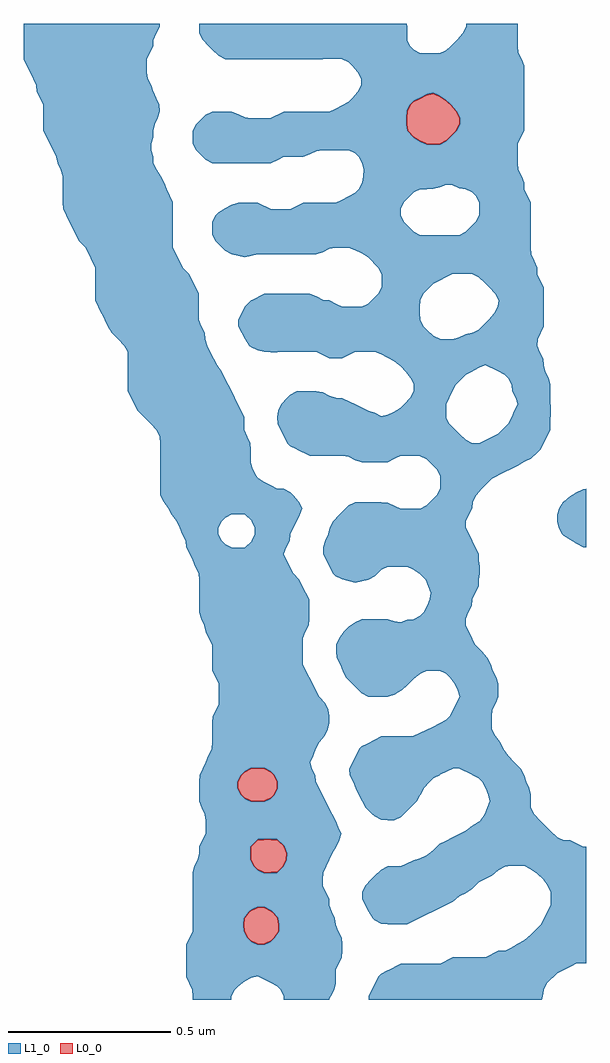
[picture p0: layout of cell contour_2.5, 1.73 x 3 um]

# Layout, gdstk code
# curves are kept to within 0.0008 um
import gdstk
lib = gdstk.Library(unit=1e-6, precision=1e-10)
def P(c, l, *ps):  # polygons
    for p in ps: c.add(gdstk.Polygon(p, *l))
L0_0 = (0, 0)
L1_0 = (1, 0)

contour_2_5 = lib.new_cell('contour_2.5')
P(contour_2_5, L0_0, [(0.4754,1.0746),(0.4654,1.0946),(0.4346,1.1276),(0.4146,1.1404),(0.3946,1.1499),(0.3746,1.1452),(0.3346,1.1254),(0.3238,1.1146),(0.3138,1.0946),(0.3134,1.0546),(0.3165,1.0346),(0.3346,1.0155),(0.3546,1.0028),(0.3746,0.9938),(0.4146,0.9938),(0.4346,1.0038),(0.4653,1.0346),(0.4753,1.0546)],
  [(-0.0567,-1.1854),(-0.0654,-1.1627),(-0.0854,-1.1445),(-0.1054,-1.1423),(-0.1254,-1.1424),(-0.1454,-1.1448),(-0.166,-1.1654),(-0.1664,-1.2054),(-0.1567,-1.2254),(-0.1454,-1.2367),(-0.1254,-1.2462),(-0.1054,-1.2462),(-0.0854,-1.2438),(-0.067,-1.2254),(-0.0573,-1.2054)],
  [(-0.081,-1.4054),(-0.0843,-1.3854),(-0.1001,-1.3654),(-0.1254,-1.3522),(-0.1454,-1.3518),(-0.1712,-1.3654),(-0.1854,-1.3835),(-0.1877,-1.4054),(-0.1875,-1.4254),(-0.1762,-1.4454),(-0.1654,-1.4562),(-0.1454,-1.4662),(-0.1254,-1.4662),(-0.1054,-1.4563),(-0.0945,-1.4454),(-0.0813,-1.4254)],
  [(-0.0846,-0.9854),(-0.0846,-0.9654),(-0.0946,-0.9454),(-0.1054,-0.9346),(-0.1254,-0.9242),(-0.1654,-0.9243),(-0.1854,-0.9346),(-0.1962,-0.9454),(-0.2062,-0.9654),(-0.2062,-0.9854),(-0.1962,-1.0054),(-0.1854,-1.0162),(-0.1654,-1.0262),(-0.1254,-1.0262),(-0.1054,-1.0162),(-0.0946,-1.0054)])
P(contour_2_5, L1_0, [(0.8646,-0.0662),(0.8546,-0.0664),(0.8346,-0.0764),(0.8146,-0.0891),(0.7946,-0.1051),(0.7815,-0.1254),(0.7754,-0.1454),(0.7754,-0.1654),(0.78,-0.1854),(0.7913,-0.2054),(0.7946,-0.2093),(0.8146,-0.223),(0.8546,-0.2446),(0.8646,-0.2446)],
  [(0.7754,-0.1454),(0.7754,-0.1654),(0.78,-0.1854),(0.7946,-0.2093),(0.8146,-0.223),(0.8346,-0.2346),(0.8546,-0.2446),(0.8646,-0.2446),(0.8646,-0.0662),(0.8546,-0.0664),(0.8346,-0.0764),(0.8146,-0.0891),(0.7946,-0.1051),(0.7815,-0.1254)],
  [(-0.3446,1.0146),(-0.3446,0.9946),(-0.3346,0.9746),(-0.3054,0.9455),(-0.2854,0.9355),(-0.1054,0.9354),(-0.0654,0.9547),(-0.0054,0.9554),(0.0146,0.962),(0.0346,0.972),(0.0546,0.9754),(0.1346,0.9754),(0.1546,0.9654),(0.1654,0.9546),(0.1755,0.9346),(0.1799,0.9146),(0.1798,0.8946),(0.1754,0.8746),(0.1654,0.8546),(0.1546,0.8438),(0.0946,0.8138),(-0.0054,0.8137),(-0.0454,0.794),(-0.1054,0.794),(-0.1454,0.8137),(-0.2054,0.8138),(-0.2254,0.8072),(-0.2454,0.7972),(-0.2654,0.7838),(-0.2746,0.7746),(-0.2846,0.7546),(-0.2846,0.7146),(-0.2746,0.6946),(-0.2454,0.6654),(-0.2254,0.6554),(-0.2054,0.6506),(-0.1854,0.6467),(-0.1454,0.6553),(0.0346,0.6554),(0.0546,0.6621),(0.0746,0.6721),(0.0946,0.6754),(0.1346,0.6754),(0.1546,0.668),(0.1746,0.658),(0.1946,0.6454),(0.2254,0.6146),(0.2354,0.5946),(0.2353,0.5546),(0.2253,0.5346),(0.1946,0.5038),(0.1746,0.4938),(0.1146,0.4938),(0.0746,0.5132),(0.0546,0.5157),(0.0346,0.5257),(0.0146,0.5338),(-0.1254,0.5338),(-0.1654,0.5136),(-0.1846,0.4946),(-0.2046,0.4546),(-0.2046,0.4346),(-0.1838,0.3946),(-0.1708,0.3746),(-0.1654,0.3701),(-0.1454,0.3595),(-0.1254,0.3554),(-0.0854,0.3543),(-0.0654,0.3553),(0.0346,0.3552),(0.0746,0.3359),(0.0946,0.3354),(0.1146,0.3359),(0.1546,0.3552),(0.2146,0.3554),(0.2346,0.3475),(0.2546,0.3375),(0.2746,0.3262),(0.2946,0.311),(0.3103,0.2946),(0.3249,0.2746),(0.3346,0.2553),(0.3342,0.2346),(0.3242,0.2146),(0.2946,0.1837),(0.2746,0.1715),(0.2546,0.1617),(0.2346,0.1576),(0.2146,0.1674),(0.1946,0.1738),(0.1146,0.2134),(0.0946,0.2138),(0.0746,0.221),(0.0546,0.231),(0.0346,0.2338),(-0.0254,0.2336),(-0.0454,0.2236),(-0.0545,0.2146),(-0.0727,0.1946),(-0.0827,0.1746),(-0.0846,0.1546),(-0.084,0.1346),(-0.0544,0.0746),(-0.0454,0.0655),(0.0146,0.0354),(0.1146,0.0354),(0.1346,0.0325),(0.1546,0.0225),(0.1746,0.0154),(0.2346,0.0154),(0.2546,0.0167),(0.2946,0.0354),(0.3546,0.0347),(0.3746,0.0247),(0.3946,0.0052),(0.4051,-0.0054),(0.4151,-0.0254),(0.4153,-0.0654),(0.4053,-0.0854),(0.3746,-0.1162),(0.3546,-0.1262),(0.2946,-0.1262),(0.2746,-0.1181),(0.2546,-0.1081),(0.2346,-0.1062),(0.1546,-0.1062),(0.1346,-0.1162),(0.0862,-0.1654),(0.0762,-0.1854),(0.0722,-0.2054),(0.0622,-0.2254),(0.0554,-0.2454),(0.0557,-0.2654),(0.086,-0.3254),(0.0946,-0.334),(0.1146,-0.3442),(0.1546,-0.3537),(0.1946,-0.3446),(0.2146,-0.3346),(0.2346,-0.3149),(0.2546,-0.3049),(0.3146,-0.3046),(0.3346,-0.3138),(0.3546,-0.3289),(0.3705,-0.3454),(0.3866,-0.3854),(0.3831,-0.4054),(0.3754,-0.4254),(0.3654,-0.4454),(0.3546,-0.4562),(0.3346,-0.4662),(0.3146,-0.4686),(0.2946,-0.4752),(0.2746,-0.4732),(0.2546,-0.4666),(0.1746,-0.4662),(0.1546,-0.4762),(0.1346,-0.4899),(0.1192,-0.5054),(0.1055,-0.5254),(0.0955,-0.5454),(0.0954,-0.5654),(0.0978,-0.5854),(0.126,-0.6454),(0.1746,-0.6946),(0.1946,-0.7046),(0.2546,-0.7047),(0.2746,-0.6979),(0.2946,-0.6871),(0.3146,-0.67),(0.3346,-0.6497),(0.3546,-0.6345),(0.3746,-0.6246),(0.4146,-0.6246),(0.4346,-0.6346),(0.4454,-0.6454),(0.46,-0.6654),(0.47,-0.6854),(0.4753,-0.7054),(0.4454,-0.7654),(0.4346,-0.7762),(0.3946,-0.7965),(0.3346,-0.8249),(0.3146,-0.8262),(0.2346,-0.8266),(0.1746,-0.8573),(0.1661,-0.8654),(0.1359,-0.9254),(0.1379,-0.9454),(0.1478,-0.9654),(0.1554,-0.9854),(0.1861,-1.0454),(0.2146,-1.0726),(0.2346,-1.0826),(0.2546,-1.0846),(0.2746,-1.0846),(0.2946,-1.0746),(0.3438,-1.0254),(0.3652,-0.9854),(0.3946,-0.9549),(0.4546,-0.9249),(0.4746,-0.9246),(0.5346,-0.9546),(0.5454,-0.9654),(0.5554,-0.9854),(0.5632,-1.0054),(0.5678,-1.0254),(0.5529,-1.0654),(0.5388,-1.0854),(0.5146,-1.101),(0.4946,-1.1162),(0.4146,-1.157),(0.3946,-1.1762),(0.3746,-1.1914),(0.3546,-1.2014),(0.3346,-1.2069),(0.2946,-1.2262),(0.2546,-1.2262),(0.2346,-1.2362),(0.2042,-1.2654),(0.1859,-1.2854),(0.1759,-1.3054),(0.1758,-1.3254),(0.1963,-1.3654),(0.2082,-1.3854),(0.2146,-1.3911),(0.2346,-1.4018),(0.2546,-1.4046),(0.3146,-1.4046),(0.4546,-1.3346),(0.4746,-1.3181),(0.4946,-1.3081),(0.5146,-1.2946),(0.5346,-1.2747),(0.5746,-1.2546),(0.5946,-1.2375),(0.6146,-1.2275),(0.6346,-1.2246),(0.6746,-1.2246),(0.6946,-1.2346),(0.7146,-1.2482),(0.7318,-1.2654),(0.7454,-1.2854),(0.7554,-1.3054),(0.7554,-1.3454),(0.7254,-1.4054),(0.6946,-1.4362),(0.6746,-1.4535),(0.6146,-1.4861),(0.5946,-1.4863),(0.5546,-1.5062),(0.4546,-1.5063),(0.4146,-1.5259),(0.2946,-1.5262),(0.2346,-1.5562),(0.2255,-1.5654),(0.1959,-1.6254),(0.1954,-1.6354),(0.7284,-1.6354),(0.7311,-1.6254),(0.7338,-1.6054),(0.7438,-1.5854),(0.7746,-1.5546),(0.8346,-1.5246),(0.8646,-1.5246),(0.8646,-1.1662),(0.8546,-1.1661),(0.8146,-1.1464),(0.7946,-1.1461),(0.7746,-1.1361),(0.704,-1.0654),(0.694,-1.0454),(0.6938,-1.0054),(0.6899,-0.9854),(0.6799,-0.9654),(0.6738,-0.9454),(0.6638,-0.9254),(0.6243,-0.8854),(0.6098,-0.8654),(0.5994,-0.8454),(0.5842,-0.8254),(0.5742,-0.8054),(0.5738,-0.7654),(0.576,-0.7454),(0.586,-0.7254),(0.5938,-0.7054),(0.5938,-0.6654),(0.5878,-0.6454),(0.5778,-0.6254),(0.5709,-0.6054),(0.5609,-0.5854),(0.5438,-0.5654),(0.5238,-0.5454),(0.4941,-0.4854),(0.4938,-0.4654),(0.502,-0.4454),(0.512,-0.4254),(0.5138,-0.4054),(0.5338,-0.3654),(0.534,-0.3454),(0.5368,-0.3254),(0.5366,-0.3054),(0.5339,-0.2854),(0.5337,-0.2654),(0.4946,-0.1854),(0.4944,-0.1654),(0.5138,-0.1254),(0.5162,-0.1054),(0.5262,-0.0854),(0.5438,-0.0654),(0.5746,-0.0347),(0.6546,0.0054),(0.6946,0.0272),(0.7146,0.0454),(0.7237,0.0546),(0.7538,0.1146),(0.7557,0.1746),(0.7538,0.2146),(0.7538,0.2546),(0.749,0.2746),(0.739,0.2946),(0.7338,0.3146),(0.7322,0.3346),(0.714,0.3746),(0.7147,0.3946),(0.7337,0.4346),(0.7336,0.5546),(0.7138,0.5946),(0.7138,0.6146),(0.6948,0.6546),(0.6938,0.6746),(0.6938,0.8146),(0.674,0.8546),(0.6738,0.8746),(0.6661,0.8946),(0.6561,0.9146),(0.6538,0.9346),(0.654,0.9946),(0.6737,1.0346),(0.6738,1.0546),(0.6738,1.2346),(0.6657,1.2546),(0.6557,1.2746),(0.6538,1.2946),(0.6538,1.3646),(0.4954,1.3646),(0.4953,1.3546),(0.4853,1.3346),(0.4478,1.2946),(0.4346,1.2828),(0.4146,1.2738),(0.3946,1.2735),(0.3946,1.1499),(0.4146,1.1404),(0.4346,1.1276),(0.4654,1.0946),(0.4754,1.0746),(0.4753,1.0546),(0.4653,1.0346),(0.4346,1.0038),(0.4346,0.8694),(0.4546,0.8673),(0.4746,0.8582),(0.4946,0.8554),(0.5146,0.8454),(0.5254,0.8346),(0.5354,0.8146),(0.5354,0.7746),(0.5254,0.7546),(0.4946,0.7239),(0.4746,0.7139),(0.4546,0.7138),(0.4546,0.5954),(0.5146,0.5953),(0.5346,0.5853),(0.5848,0.5346),(0.5948,0.5146),(0.5922,0.4946),(0.5822,0.4746),(0.5654,0.4546),(0.5546,0.4438),(0.5546,0.3152),(0.6146,0.2852),(0.6249,0.2746),(0.6349,0.2546),(0.6374,0.2346),(0.6472,0.2146),(0.6536,0.1946),(0.6254,0.1346),(0.5946,0.1038),(0.5346,0.074),(0.5146,0.0744),(0.4946,0.0844),(0.4439,0.1346),(0.4339,0.1546),(0.4338,0.1946),(0.4429,0.2146),(0.4638,0.2546),(0.4946,0.2854),(0.5546,0.3152),(0.5546,0.4438),(0.5346,0.4238),(0.5146,0.4138),(0.4946,0.41),(0.4746,0.4),(0.4546,0.3938),(0.4146,0.3954),(0.3946,0.4054),(0.3638,0.4346),(0.3538,0.4546),(0.353,0.4746),(0.3538,0.5146),(0.3638,0.5346),(0.3946,0.5654),(0.4546,0.5954),(0.4546,0.7138),(0.3546,0.7138),(0.3346,0.7238),(0.3037,0.7546),(0.2938,0.7746),(0.2938,0.7946),(0.3032,0.8146),(0.3346,0.8454),(0.3546,0.8554),(0.3946,0.856),(0.4146,0.8609),(0.4346,0.8694),(0.4346,1.0038),(0.4146,0.9938),(0.3746,0.9938),(0.3546,1.0028),(0.3346,1.0155),(0.3165,1.0346),(0.3134,1.0546),(0.3138,1.0946),(0.3238,1.1146),(0.3346,1.1254),(0.3546,1.1356),(0.3746,1.1452),(0.3946,1.1499),(0.3946,1.2735),(0.3546,1.2738),(0.3346,1.2839),(0.3239,1.2946),(0.3139,1.3146),(0.3133,1.3646),(-0.3246,1.3646),(-0.3245,1.3346),(-0.3145,1.3146),(-0.296,1.2946),(-0.2654,1.2654),(-0.2454,1.2554),(0.1146,1.2554),(0.1346,1.2454),(0.1454,1.2346),(0.1622,1.2146),(0.1722,1.1946),(0.1722,1.1746),(0.1622,1.1546),(0.1454,1.1346),(0.1346,1.1238),(0.1146,1.1129),(0.0746,1.0938),(-0.0654,1.0937),(-0.1054,1.074),(-0.1254,1.0738),(-0.1654,1.0738),(-0.1854,1.076),(-0.2054,1.086),(-0.2254,1.0938),(-0.2854,1.0937),(-0.3054,1.0837),(-0.3345,1.0546),(-0.3445,1.0346)],
  [(-0.8646,1.3646),(-0.8646,1.2546),(-0.8256,1.1746),(-0.8239,1.1546),(-0.8046,1.1146),(-0.8046,1.0346),(-0.7647,0.9546),(-0.7602,0.9346),(-0.7502,0.9146),(-0.7446,0.8946),(-0.7446,0.8146),(-0.7435,0.7946),(-0.6946,0.6946),(-0.6746,0.6746),(-0.6446,0.6146),(-0.6446,0.5146),(-0.6359,0.4946),(-0.6062,0.4346),(-0.5946,0.4146),(-0.5553,0.3746),(-0.5454,0.3549),(-0.5446,0.2346),(-0.5141,0.1746),(-0.4557,0.1146),(-0.4457,0.0946),(-0.4446,0.0746),(-0.4445,-0.0854),(-0.4345,-0.1054),(-0.4199,-0.1254),(-0.4099,-0.1454),(-0.3946,-0.1654),(-0.3846,-0.1854),(-0.3773,-0.2054),(-0.3673,-0.2254),(-0.3646,-0.2454),(-0.3269,-0.3254),(-0.3246,-0.3454),(-0.3246,-0.4454),(-0.3196,-0.4654),(-0.3096,-0.4854),(-0.3046,-0.5054),(-0.2851,-0.5454),(-0.2845,-0.6254),(-0.265,-0.6654),(-0.2647,-0.7254),(-0.2829,-0.7654),(-0.2846,-0.7854),(-0.2846,-0.8454),(-0.2872,-0.8654),(-0.3237,-0.9454),(-0.3246,-1.0254),(-0.3175,-1.0454),(-0.3075,-1.0654),(-0.3046,-1.0854),(-0.3051,-1.1254),(-0.3246,-1.1654),(-0.3246,-1.1854),(-0.33,-1.2054),(-0.34,-1.2254),(-0.3446,-1.2454),(-0.3447,-1.4254),(-0.3644,-1.4654),(-0.3646,-1.5654),(-0.3462,-1.6054),(-0.3446,-1.6354),(-0.2262,-1.6354),(-0.2262,-1.6254),(-0.2162,-1.6054),(-0.2054,-1.5946),(-0.1854,-1.5793),(-0.1654,-1.5693),(-0.1454,-1.5647),(-0.0854,-1.5946),(-0.0746,-1.6054),(-0.0646,-1.6254),(-0.0646,-1.6354),(0.074,-1.6354),(0.0896,-1.6054),(0.0938,-1.5854),(0.0938,-1.5454),(0.1137,-1.5054),(0.1138,-1.4654),(0.1122,-1.4454),(0.0938,-1.4054),(0.092,-1.3854),(0.082,-1.3654),(0.0738,-1.3454),(0.0738,-1.3254),(0.0541,-1.2854),(0.0538,-1.2654),(0.056,-1.2454),(0.0744,-1.2054),(0.1051,-1.1454),(0.1114,-1.1254),(0.1017,-1.1054),(0.0938,-1.0854),(0.0338,-0.9654),(0.0308,-0.9454),(0.0211,-0.9254),(0.0163,-0.9054),(0.0438,-0.8454),(0.0603,-0.8254),(0.0703,-0.8054),(0.0738,-0.7854),(0.0738,-0.7654),(0.0722,-0.7454),(0.0622,-0.7254),(0.0438,-0.7054),(0.0125,-0.6454),(-0.0062,-0.6054),(-0.0062,-0.5254),(0.0014,-0.5054),(0.0114,-0.4854),(0.0138,-0.4654),(0.0128,-0.4054),(-0.0181,-0.3454),(-0.0362,-0.3254),(-0.0658,-0.2654),(-0.0474,-0.2254),(-0.0459,-0.2054),(-0.0159,-0.1454),(-0.0087,-0.1254),(-0.0185,-0.1054),(-0.0454,-0.0762),(-0.0654,-0.0662),(-0.0854,-0.0654),(-0.1254,-0.0449),(-0.1454,-0.0309),(-0.1454,-0.9239),(-0.1254,-0.9242),(-0.1054,-0.9346),(-0.0946,-0.9454),(-0.0846,-0.9654),(-0.0846,-0.9854),(-0.0946,-1.0054),(-0.1054,-1.0162),(-0.1054,-1.1423),(-0.0854,-1.1445),(-0.0654,-1.1627),(-0.0567,-1.1854),(-0.0573,-1.2054),(-0.067,-1.2254),(-0.0854,-1.2438),(-0.1054,-1.2462),(-0.1254,-1.2462),(-0.1454,-1.2367),(-0.1454,-1.3518),(-0.1254,-1.3522),(-0.1001,-1.3654),(-0.0843,-1.3854),(-0.081,-1.4054),(-0.0813,-1.4254),(-0.0945,-1.4454),(-0.1054,-1.4563),(-0.1254,-1.4662),(-0.1454,-1.4662),(-0.1654,-1.4562),(-0.1762,-1.4454),(-0.1875,-1.4254),(-0.1877,-1.4054),(-0.1854,-1.3835),(-0.1712,-1.3654),(-0.1454,-1.3518),(-0.1454,-1.2367),(-0.1567,-1.2254),(-0.1664,-1.2054),(-0.166,-1.1654),(-0.1454,-1.1448),(-0.1254,-1.1424),(-0.1054,-1.1423),(-0.1054,-1.0162),(-0.1254,-1.0262),(-0.1654,-1.0262),(-0.1854,-1.0162),(-0.1962,-1.0054),(-0.2062,-0.9854),(-0.2062,-0.9654),(-0.1962,-0.9454),(-0.1854,-0.9346),(-0.1654,-0.9243),(-0.1454,-0.9239),(-0.1454,-0.0309),(-0.1606,-0.0054),(-0.1662,0.0146),(-0.1662,0.0546),(-0.1678,0.0746),(-0.1862,0.1146),(-0.1867,0.1546),(-0.2054,0.193),(-0.2054,-0.1438),(-0.1854,-0.1445),(-0.1654,-0.1619),(-0.1541,-0.1854),(-0.1546,-0.2054),(-0.1654,-0.2281),(-0.1854,-0.2462),(-0.2254,-0.2462),(-0.2454,-0.2362),(-0.2562,-0.2254),(-0.2662,-0.2054),(-0.2662,-0.1854),(-0.2566,-0.1654),(-0.2454,-0.1542),(-0.2254,-0.1439),(-0.2054,-0.1438),(-0.2054,0.193),(-0.2562,0.2946),(-0.2702,0.3146),(-0.3007,0.3746),(-0.3062,0.3946),(-0.3085,0.4146),(-0.3185,0.4346),(-0.3262,0.4546),(-0.3263,0.5346),(-0.3562,0.5946),(-0.3761,0.6146),(-0.4058,0.6746),(-0.4062,0.8146),(-0.425,0.8546),(-0.4328,0.8746),(-0.4428,0.8946),(-0.4562,0.9146),(-0.4662,0.9346),(-0.4671,0.9546),(-0.4732,0.9746),(-0.4726,0.9946),(-0.4665,1.0146),(-0.4662,1.0346),(-0.4621,1.0546),(-0.4521,1.0746),(-0.4462,1.0946),(-0.4477,1.1146),(-0.4577,1.1346),(-0.4662,1.1546),(-0.4728,1.1746),(-0.4828,1.1946),(-0.4862,1.2146),(-0.4862,1.2546),(-0.4667,1.2946),(-0.4662,1.3146),(-0.4466,1.3546),(-0.4462,1.3646)])

lib.write_gds('contour_2.5.gds')
